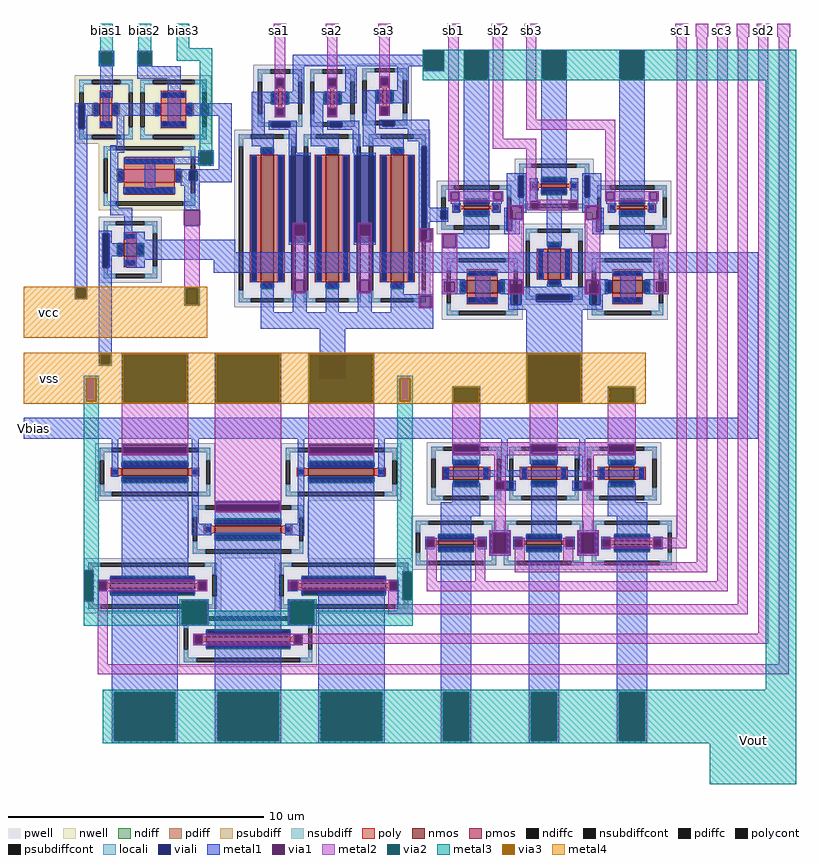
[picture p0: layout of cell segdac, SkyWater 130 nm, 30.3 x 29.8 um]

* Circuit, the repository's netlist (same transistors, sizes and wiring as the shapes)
** sch_path: /home/anton/projects/tt08-vga-fun/xschem/segdac.sch
.subckt segdac sa1 vcc sa2 vss sa3 Vout sb1 sb2 Vbias sb3 sc1 sc2 sc3 sd1 sd2 sd3 bias1 bias2 bias3
*.PININFO vcc:B vss:B Vout:O Vbias:O sa1:I sa2:I sa3:I sb1:I sb2:I sb3:I sc1:I sc2:I sc3:I sd1:I sd2:I sd3:I bias1:I bias2:I
*+ bias3:I
XMmirror Vbias Vbias vss vss sky130_fd_pr__nfet_01v8 L=0.5 W=0.5 nf=1 m=1
XMia1 net1 Vbias vss vss sky130_fd_pr__nfet_01v8 L=5 W=0.5 nf=1 m=1
XMia2 net2 Vbias vss vss sky130_fd_pr__nfet_01v8 L=5 W=0.5 nf=1 m=1
XMia3 net3 Vbias vss vss sky130_fd_pr__nfet_01v8 L=5 W=0.5 nf=1 m=1
XMsa1 Vout sa1 net1 vss sky130_fd_pr__nfet_01v8 L=0.15 W=0.5 nf=1 m=1
XMsa2 Vout sa2 net2 vss sky130_fd_pr__nfet_01v8 L=0.15 W=0.5 nf=1 m=1
XMsa3 Vout sa3 net3 vss sky130_fd_pr__nfet_01v8 L=0.15 W=0.5 nf=1 m=1
XMib1 net4 Vbias vss vss sky130_fd_pr__nfet_01v8 L=1.2 W=0.5 nf=1 m=1
XMib2 net5 Vbias vss vss sky130_fd_pr__nfet_01v8 L=1.2 W=0.5 nf=1 m=1
XMib3 net6 Vbias vss vss sky130_fd_pr__nfet_01v8 L=1.2 W=0.5 nf=1 m=1
XMsb1 Vout sb1 net4 vss sky130_fd_pr__nfet_01v8 L=0.15 W=1 nf=1 m=1
XMsb2 Vout sb2 net5 vss sky130_fd_pr__nfet_01v8 L=0.15 W=1 nf=1 m=1
XMsb3 Vout sb3 net6 vss sky130_fd_pr__nfet_01v8 L=0.15 W=1 nf=1 m=1
XMic1 net7 Vbias vss vss sky130_fd_pr__nfet_01v8 L=0.5 W=1 nf=1 m=1
XMic2 net8 Vbias vss vss sky130_fd_pr__nfet_01v8 L=0.5 W=1 nf=1 m=1
XMic3 net9 Vbias vss vss sky130_fd_pr__nfet_01v8 L=0.5 W=1 nf=1 m=1
XMsc1 Vout sc1 net7 vss sky130_fd_pr__nfet_01v8 L=0.15 W=1.4 nf=1 m=1
XMsc2 Vout sc2 net8 vss sky130_fd_pr__nfet_01v8 L=0.15 W=1.4 nf=1 m=1
XMsc3 Vout sc3 net9 vss sky130_fd_pr__nfet_01v8 L=0.15 W=1.4 nf=1 m=1
XMid1 net10 Vbias vss vss sky130_fd_pr__nfet_01v8 L=0.3 W=2.6 nf=1 m=1
XMid2 net11 Vbias vss vss sky130_fd_pr__nfet_01v8 L=0.3 W=2.6 nf=1 m=1
XMid3 net12 Vbias vss vss sky130_fd_pr__nfet_01v8 L=0.3 W=2.6 nf=1 m=1
XMsd1 Vout sd1 net10 vss sky130_fd_pr__nfet_01v8 L=0.2 W=3.3 nf=1 m=1
XMsd2 Vout sd2 net11 vss sky130_fd_pr__nfet_01v8 L=0.2 W=3.3 nf=1 m=1
XMsd3 Vout sd3 net12 vss sky130_fd_pr__nfet_01v8 L=0.2 W=3.3 nf=1 m=1
XM1 Vbias bias1 vcc vcc sky130_fd_pr__pfet_01v8 L=0.5 W=0.5 nf=1 m=1
XM2 Vbias bias2 vcc vcc sky130_fd_pr__pfet_01v8 L=1 W=0.5 nf=1 m=1
XM3 Vbias bias3 vcc vcc sky130_fd_pr__pfet_01v8 L=2 W=0.5 nf=1 m=1
.ends
.end

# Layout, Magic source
magic
tech sky130A
magscale 1 2
<< viali >>
rect -1470 4780 -1420 4970
rect -510 4890 -450 4970
rect 40 4790 190 4830
rect 500 4790 600 4830
rect 910 4800 1010 4840
rect -600 4370 -540 4450
rect -1280 3690 -1230 3960
rect 190 3890 340 4570
rect 700 3890 850 4570
rect 1220 3920 1260 4640
rect 1980 4240 2020 4410
rect 2500 4240 2540 4410
rect 1370 4070 1420 4140
rect 1890 3980 1930 4140
rect 2590 3970 2630 4140
rect 1920 3400 2000 3560
rect 2120 3420 2400 3480
rect 2540 3400 2620 3560
rect -1110 2240 -630 2280
rect 350 2240 830 2280
rect 1480 2250 1660 2290
rect 2090 2250 2270 2290
rect 2700 2250 2880 2290
rect 1810 1950 1940 2010
rect 2420 1950 2550 2010
rect -380 1790 100 1830
rect 1770 1450 1900 1610
rect 2460 1450 2590 1610
rect -1400 1100 -1360 1290
rect 1080 1110 1120 1280
rect -650 910 -480 1060
rect 200 910 370 1060
<< metal1 >>
rect 1230 5390 1400 5400
rect -1310 5380 -1190 5390
rect -1310 5280 -1300 5380
rect -1200 5280 -1190 5380
rect -1310 5270 -1190 5280
rect -1010 5380 -890 5390
rect -1010 5280 -1000 5380
rect -900 5280 -890 5380
rect 1230 5360 1240 5390
rect -1010 5270 -890 5280
rect 210 5270 1240 5360
rect -1300 5020 -1200 5270
rect -1010 5170 -670 5270
rect -1500 4970 -1310 4980
rect -1500 4780 -1470 4970
rect -1420 4880 -1310 4970
rect -1420 4780 -1400 4880
rect -1280 4800 -1230 5020
rect -1200 4880 -830 4980
rect -1500 3530 -1400 4780
rect -1170 4650 -1110 4880
rect -770 4800 -670 5170
rect 70 5170 150 5180
rect 70 5110 80 5170
rect 140 5110 150 5170
rect 210 5070 300 5270
rect 480 5170 560 5180
rect 480 5110 490 5170
rect 550 5110 560 5170
rect 492 5108 504 5110
rect 538 5108 550 5110
rect 492 5102 550 5108
rect 620 5070 710 5270
rect 890 5180 970 5190
rect 890 5120 900 5180
rect 960 5120 970 5180
rect 902 5118 914 5120
rect 948 5118 960 5120
rect 902 5112 960 5118
rect 1030 5080 1120 5270
rect 1230 5240 1240 5270
rect 1390 5240 1400 5390
rect 1230 5230 1400 5240
rect 1550 5390 1750 5400
rect -110 4980 90 5070
rect 140 4980 300 5070
rect -620 4970 -270 4980
rect -620 4890 -510 4970
rect -450 4890 -270 4970
rect -620 4880 -270 4890
rect -1220 4590 -1110 4650
rect -530 4600 -410 4610
rect -1220 4460 -1160 4590
rect -530 4560 -520 4600
rect -1100 4500 -520 4560
rect -420 4500 -410 4600
rect -1220 4360 -1120 4460
rect -1220 4160 -1160 4360
rect -950 4320 -870 4500
rect -530 4490 -410 4500
rect -370 4460 -270 4880
rect -110 4740 -10 4980
rect 350 4970 500 5070
rect 542 5058 710 5070
rect 542 4982 548 5058
rect 550 4982 710 5058
rect 542 4980 710 4982
rect 760 4980 910 5080
rect 952 5068 1120 5080
rect 952 4992 958 5068
rect 960 4992 1120 5068
rect 952 4980 1120 4992
rect 1550 5170 1560 5390
rect 1740 5170 1750 5390
rect 542 4970 560 4980
rect 70 4880 80 4940
rect 140 4880 150 4940
rect 70 4870 150 4880
rect 20 4830 240 4840
rect 20 4790 40 4830
rect 190 4790 240 4830
rect 20 4770 240 4790
rect -110 4640 60 4740
rect -40 4580 60 4640
rect 180 4590 240 4770
rect 350 4740 450 4970
rect 480 4880 490 4940
rect 550 4880 560 4940
rect 480 4870 560 4880
rect 480 4830 730 4840
rect 480 4790 500 4830
rect 600 4790 730 4830
rect 480 4770 730 4790
rect 350 4640 570 4740
rect 470 4590 570 4640
rect 680 4590 730 4770
rect 760 4740 860 4980
rect 890 4890 900 4950
rect 960 4890 970 4950
rect 890 4880 970 4890
rect 890 4840 1280 4850
rect 890 4800 910 4840
rect 1010 4800 1280 4840
rect 890 4780 1280 4800
rect 760 4640 1080 4740
rect 1110 4680 1280 4780
rect -700 4450 -270 4460
rect -700 4370 -600 4450
rect -540 4370 -270 4450
rect -700 4360 -270 4370
rect 180 4570 350 4590
rect -670 4330 -520 4360
rect -1120 4270 -710 4320
rect -1220 4100 -1050 4160
rect -1500 3450 -1490 3530
rect -1410 3450 -1400 3530
rect -1500 3440 -1400 3450
rect -1310 3960 -1210 3980
rect -1310 3690 -1280 3960
rect -1230 3880 -1210 3960
rect -1110 3970 -1050 4100
rect -640 4140 -520 4330
rect -640 4014 -520 4020
rect -1110 3910 -950 3970
rect -1230 3780 -1120 3880
rect -1090 3810 -240 3910
rect 180 3890 190 4570
rect 340 3890 350 4570
rect 180 3870 350 3890
rect 690 4570 860 4590
rect 980 4580 1080 4640
rect 1200 4640 1280 4680
rect 690 3890 700 4570
rect 850 3890 860 4570
rect 1200 3990 1220 4640
rect 1260 4160 1280 4640
rect 1440 4280 1520 4290
rect 1440 4220 1450 4280
rect 1510 4220 1520 4280
rect 1440 4210 1520 4220
rect 1450 4190 1520 4210
rect 1550 4200 1750 5170
rect 2160 5390 2360 5400
rect 2160 5170 2170 5390
rect 2350 5170 2360 5390
rect 1890 4410 2040 4430
rect 1780 4280 1860 4290
rect 1780 4220 1790 4280
rect 1850 4220 1860 4280
rect 1780 4210 1860 4220
rect 1890 4240 1980 4410
rect 2020 4240 2040 4410
rect 1260 4140 1430 4160
rect 1260 4070 1370 4140
rect 1420 4070 1430 4140
rect 1460 4120 1520 4190
rect 1780 4190 1850 4210
rect 1260 4050 1430 4070
rect 1260 4000 1280 4050
rect 1260 3990 1310 4000
rect 1200 3900 1210 3990
rect 1300 3900 1310 3990
rect 1550 3960 1750 4130
rect 1780 4120 1840 4190
rect 1890 4170 2040 4240
rect 1890 4160 1910 4170
rect 1870 4140 1910 4160
rect 1200 3890 1310 3900
rect 1380 3950 1750 3960
rect 1870 3980 1890 4140
rect 2010 4120 2040 4170
rect 2070 4220 2130 4390
rect 2160 4370 2360 5170
rect 2770 5390 2970 5400
rect 2770 5170 2780 5390
rect 2960 5170 2970 5390
rect 2480 4410 2630 4430
rect 2070 4210 2150 4220
rect 2070 4150 2080 4210
rect 2140 4150 2150 4210
rect 2070 4140 2150 4150
rect 2010 4070 2020 4120
rect 1930 4060 2020 4070
rect 1930 3980 1990 4060
rect 1870 3950 1990 3980
rect 690 3870 860 3890
rect 1380 3850 1390 3950
rect 1490 3850 1750 3950
rect 2200 3860 2320 4290
rect 2390 4220 2450 4390
rect 2370 4210 2450 4220
rect 2370 4150 2380 4210
rect 2440 4150 2450 4210
rect 2370 4140 2450 4150
rect 2480 4240 2500 4410
rect 2540 4240 2630 4410
rect 2480 4170 2630 4240
rect 2660 4280 2740 4290
rect 2660 4220 2670 4280
rect 2730 4220 2740 4280
rect 2660 4210 2740 4220
rect 2670 4190 2740 4210
rect 2770 4200 2970 5170
rect 3000 4280 3080 4290
rect 3000 4220 3010 4280
rect 3070 4220 3080 4280
rect 3000 4210 3080 4220
rect 2480 4120 2510 4170
rect 2610 4160 2630 4170
rect 2610 4140 2650 4160
rect 2500 4070 2510 4120
rect 2500 4060 2590 4070
rect 2560 3970 2590 4060
rect 2630 3970 2650 4140
rect 2680 4120 2740 4190
rect 3000 4190 3070 4210
rect 2560 3950 2650 3970
rect 2770 3960 2970 4130
rect 3000 4120 3060 4190
rect 2770 3950 3140 3960
rect 1380 3840 1750 3850
rect 2770 3850 3030 3950
rect 3130 3850 3140 3950
rect 2770 3840 3140 3850
rect -1230 3690 -1210 3780
rect -1090 3750 3860 3810
rect -1110 3700 -950 3750
rect -1090 3690 -950 3700
rect -1310 3010 -1210 3690
rect -410 3650 3860 3750
rect 210 3590 320 3600
rect -40 3340 60 3570
rect 210 3500 220 3590
rect 310 3500 320 3590
rect 720 3590 830 3600
rect 210 3340 320 3500
rect 470 3340 570 3570
rect 720 3500 730 3590
rect 820 3500 830 3590
rect 1380 3580 1560 3600
rect 720 3340 830 3500
rect 980 3480 1080 3570
rect 1380 3500 1400 3580
rect 1480 3500 1560 3580
rect 1380 3480 1560 3500
rect 980 3470 1310 3480
rect 980 3380 1210 3470
rect 1300 3380 1310 3470
rect 1640 3420 1760 3650
rect 1840 3590 2020 3600
rect 1840 3490 1910 3590
rect 2010 3540 2020 3590
rect 2500 3590 2680 3600
rect 2200 3540 2320 3560
rect 2500 3540 2510 3590
rect 2610 3560 2680 3590
rect 2010 3490 2510 3540
rect 1840 3480 1920 3490
rect 980 3340 1310 3380
rect 1900 3400 1920 3480
rect 2000 3480 2540 3490
rect 2000 3420 2120 3480
rect 2400 3420 2540 3480
rect 2000 3400 2540 3420
rect 2620 3480 2680 3560
rect 2620 3400 2640 3480
rect 2780 3420 2900 3650
rect 2980 3580 3160 3600
rect 2980 3500 3060 3580
rect 3140 3500 3160 3580
rect 2980 3480 3160 3500
rect 1900 3360 2640 3400
rect -40 3210 1310 3340
rect -1310 2930 -1300 3010
rect -1220 2930 -1210 3010
rect -1310 2920 -1210 2930
rect 420 3010 620 3210
rect 420 2830 430 3010
rect 610 2830 620 3010
rect 420 2820 620 2830
rect 2040 3010 2480 3360
rect 2040 2630 2050 3010
rect 2470 2630 2480 3010
rect 2040 2620 2480 2630
rect 3700 2511 3860 3650
rect -1901 2349 3861 2511
rect -1210 2050 -1160 2349
rect -1130 2300 -610 2310
rect -1130 2230 -1120 2300
rect -620 2230 -610 2300
rect -1130 2140 -610 2230
rect -1430 1310 -1350 1320
rect -1430 1080 -1420 1310
rect -1360 1080 -1350 1310
rect -1130 1250 -610 2030
rect -581 1680 -529 2349
rect -400 1850 120 1860
rect -400 1780 -390 1850
rect 110 1780 120 1850
rect -400 1690 120 1780
rect 250 1680 300 2349
rect 330 2300 850 2310
rect 330 2230 340 2300
rect 840 2230 850 2300
rect 330 2140 850 2230
rect 880 2050 930 2349
rect 1460 2300 1680 2310
rect 1460 2230 1470 2300
rect 1670 2230 1680 2300
rect 1460 2150 1680 2230
rect 1845 2100 1895 2349
rect 2070 2300 2290 2310
rect 2070 2230 2080 2300
rect 2280 2230 2290 2300
rect 2070 2150 2290 2230
rect 2455 2100 2505 2349
rect 2680 2300 2900 2310
rect 2680 2230 2690 2300
rect 2890 2230 2900 2300
rect 2680 2150 2900 2230
rect 1390 2050 2960 2100
rect -581 1594 -430 1680
rect -580 1590 -430 1594
rect -1320 1230 -1250 1240
rect -1320 1160 -1310 1230
rect -1320 1150 -1250 1160
rect -530 1230 -460 1240
rect -470 1160 -460 1230
rect -530 1150 -460 1160
rect -1430 1070 -1350 1080
rect -1210 360 -690 1140
rect -660 1080 -450 1090
rect -460 890 -450 1080
rect -660 880 -450 890
rect -400 830 120 1610
rect 150 1590 300 1680
rect 250 1585 300 1590
rect 330 1250 850 2030
rect 1790 2010 1960 2020
rect 1460 1850 1680 2000
rect 1790 1950 1800 2010
rect 1940 1950 1960 2010
rect 2400 2010 2570 2020
rect 1790 1940 1960 1950
rect 1370 1740 1680 1850
rect 1250 1560 1320 1580
rect 1370 1570 1610 1740
rect 1760 1610 1910 1630
rect 1250 1500 1260 1560
rect 1250 1480 1320 1500
rect 1660 1560 1730 1580
rect 1720 1500 1730 1560
rect 1070 1300 1150 1310
rect 170 1230 250 1240
rect 170 1160 190 1230
rect 170 1150 250 1160
rect 970 1230 1040 1240
rect 1030 1160 1040 1230
rect 970 1150 1040 1160
rect 170 1080 380 1090
rect 170 890 180 1080
rect 170 880 380 890
rect -570 810 -500 820
rect -570 740 -560 810
rect -570 730 -500 740
rect 220 810 290 820
rect 280 740 290 810
rect 220 730 290 740
rect -1210 -20 -1190 360
rect -710 -20 -690 360
rect -1210 -40 -690 -20
rect -400 360 120 720
rect -400 -20 -380 360
rect 100 -20 120 360
rect -400 -40 120 -20
rect 410 360 930 1140
rect 1070 1090 1080 1300
rect 1140 1090 1150 1300
rect 1070 1080 1150 1090
rect 410 -20 430 360
rect 910 -20 930 360
rect 410 -40 930 -20
rect 1370 360 1610 1490
rect 1660 1480 1730 1500
rect 1760 1450 1770 1610
rect 1900 1450 1910 1610
rect 1940 1560 2010 1580
rect 2080 1570 2280 2000
rect 2400 1950 2420 2010
rect 2560 1950 2570 2010
rect 2400 1940 2570 1950
rect 2680 1850 2900 2000
rect 2680 1740 2990 1850
rect 2450 1610 2600 1630
rect 1940 1500 1950 1560
rect 1940 1480 2010 1500
rect 2350 1560 2420 1580
rect 2410 1500 2420 1560
rect 2350 1480 2420 1500
rect 1760 1430 1910 1450
rect 1370 -20 1390 360
rect 1590 -20 1610 360
rect 1370 -40 1610 -20
rect 2060 360 2300 1480
rect 2450 1450 2460 1610
rect 2590 1450 2600 1610
rect 2630 1560 2700 1580
rect 2750 1570 2990 1740
rect 2630 1500 2640 1560
rect 2630 1480 2700 1500
rect 3040 1560 3110 1580
rect 3100 1500 3110 1560
rect 3040 1480 3110 1500
rect 2450 1430 2600 1450
rect 2060 -20 2080 360
rect 2280 -20 2300 360
rect 2060 -40 2300 -20
rect 2750 360 2990 1480
rect 2750 -20 2770 360
rect 2970 -20 2990 360
rect 2750 -40 2990 -20
<< via1 >>
rect -1300 5280 -1200 5380
rect -1000 5280 -900 5380
rect 80 5110 140 5170
rect 490 5110 550 5170
rect 900 5120 960 5180
rect 1240 5240 1390 5390
rect -520 4500 -420 4600
rect 1560 5170 1740 5390
rect 80 4880 140 4940
rect 490 4880 550 4940
rect 900 4890 960 4950
rect -1490 3450 -1410 3530
rect -640 4020 -520 4140
rect 220 3940 310 4030
rect 730 3940 820 4030
rect 1450 4220 1510 4280
rect 2170 5170 2350 5390
rect 1790 4220 1850 4280
rect 1210 3920 1220 3990
rect 1220 3920 1260 3990
rect 1260 3920 1300 3990
rect 1210 3900 1300 3920
rect 1910 4140 2010 4170
rect 1910 4070 1930 4140
rect 1930 4070 2010 4140
rect 2780 5170 2960 5390
rect 2080 4150 2140 4210
rect 1390 3850 1490 3950
rect 2380 4150 2440 4210
rect 2670 4220 2730 4280
rect 3010 4220 3070 4280
rect 2510 4140 2610 4170
rect 2510 4070 2590 4140
rect 2590 4070 2610 4140
rect 3030 3850 3130 3950
rect 220 3500 310 3590
rect 730 3500 820 3590
rect 1400 3500 1480 3580
rect 1210 3380 1300 3470
rect 1910 3560 2010 3590
rect 1910 3490 1920 3560
rect 1920 3490 2000 3560
rect 2000 3490 2010 3560
rect 2510 3560 2610 3590
rect 2510 3490 2540 3560
rect 2540 3490 2610 3560
rect 3060 3500 3140 3580
rect -1300 2930 -1220 3010
rect 430 2830 610 3010
rect 2050 2630 2470 3010
rect -1120 2280 -620 2300
rect -1120 2240 -1110 2280
rect -1110 2240 -630 2280
rect -630 2240 -620 2280
rect -1120 2230 -620 2240
rect -1420 1290 -1360 1310
rect -1420 1100 -1400 1290
rect -1400 1100 -1360 1290
rect -1420 1080 -1360 1100
rect -390 1830 110 1850
rect -390 1790 -380 1830
rect -380 1790 100 1830
rect 100 1790 110 1830
rect -390 1780 110 1790
rect 340 2280 840 2300
rect 340 2240 350 2280
rect 350 2240 830 2280
rect 830 2240 840 2280
rect 340 2230 840 2240
rect 1470 2290 1670 2300
rect 1470 2250 1480 2290
rect 1480 2250 1660 2290
rect 1660 2250 1670 2290
rect 1470 2230 1670 2250
rect 2080 2290 2280 2300
rect 2080 2250 2090 2290
rect 2090 2250 2270 2290
rect 2270 2250 2280 2290
rect 2080 2230 2280 2250
rect 2690 2290 2890 2300
rect 2690 2250 2700 2290
rect 2700 2250 2880 2290
rect 2880 2250 2890 2290
rect 2690 2230 2890 2250
rect -1310 1160 -1250 1230
rect -530 1160 -470 1230
rect -660 1060 -460 1080
rect -660 910 -650 1060
rect -650 910 -480 1060
rect -480 910 -460 1060
rect -660 890 -460 910
rect 1800 1950 1810 2010
rect 1810 1950 1870 2010
rect 1260 1500 1320 1560
rect 1660 1500 1720 1560
rect 190 1160 250 1230
rect 970 1160 1030 1230
rect 180 1060 380 1080
rect 180 910 200 1060
rect 200 910 370 1060
rect 370 910 380 1060
rect 180 890 380 910
rect -560 740 -500 810
rect 220 740 280 810
rect -1190 -20 -710 360
rect -380 -20 100 360
rect 1080 1280 1140 1300
rect 1080 1110 1120 1280
rect 1120 1110 1140 1280
rect 1080 1090 1140 1110
rect 430 -20 910 360
rect 1780 1450 1890 1610
rect 2490 1950 2550 2010
rect 2550 1950 2560 2010
rect 1950 1500 2010 1560
rect 2350 1500 2410 1560
rect 1390 -20 1590 360
rect 2470 1450 2580 1610
rect 2640 1500 2700 1560
rect 3040 1500 3100 1560
rect 2080 -20 2280 360
rect 2770 -20 2970 360
<< metal2 >>
rect 60 5500 160 5600
rect 470 5500 570 5600
rect 880 5500 980 5600
rect 1420 5500 1520 5600
rect 1770 5500 1870 5600
rect 2030 5500 2130 5600
rect 3210 5500 3310 5600
rect 3370 5500 3470 5600
rect 3530 5500 3630 5600
rect 3690 5500 3790 5600
rect 3850 5500 3950 5600
rect 4010 5500 4110 5600
rect -1310 5380 -1190 5390
rect -1310 5280 -1300 5380
rect -1200 5280 -1190 5380
rect -1310 5270 -1190 5280
rect -1010 5380 -890 5390
rect -1010 5280 -1000 5380
rect -900 5280 -890 5380
rect -1010 5270 -890 5280
rect 70 5170 150 5500
rect 70 5110 80 5170
rect 140 5110 150 5170
rect 70 4940 150 5110
rect 70 4880 80 4940
rect 140 4880 150 4940
rect 70 4870 150 4880
rect 480 5170 560 5500
rect 480 5110 490 5170
rect 550 5110 560 5170
rect 480 4940 560 5110
rect 480 4880 490 4940
rect 550 4880 560 4940
rect 890 5180 970 5500
rect 1230 5390 1400 5400
rect 1230 5240 1240 5390
rect 1390 5240 1400 5390
rect 1230 5230 1400 5240
rect 890 5120 900 5180
rect 960 5120 970 5180
rect 890 4950 970 5120
rect 890 4890 900 4950
rect 960 4890 970 4950
rect 890 4880 970 4890
rect 480 4870 560 4880
rect -530 4600 -410 4610
rect -530 4500 -520 4600
rect -420 4500 -410 4600
rect -530 4490 -410 4500
rect 1430 4290 1510 5500
rect 1550 5390 1750 5400
rect 1550 5170 1560 5390
rect 1740 5170 1750 5390
rect 1550 5160 1750 5170
rect 1780 4700 1860 5500
rect 2040 4850 2120 5500
rect 2160 5390 2360 5400
rect 2160 5170 2170 5390
rect 2350 5170 2360 5390
rect 2160 5160 2360 5170
rect 2770 5390 2970 5400
rect 2770 5170 2780 5390
rect 2960 5170 2970 5390
rect 2770 5160 2970 5170
rect 2040 4770 2740 4850
rect 1780 4620 2120 4700
rect 1430 4280 1860 4290
rect 1430 4220 1450 4280
rect 1510 4220 1790 4280
rect 1850 4220 1860 4280
rect 1430 4210 1860 4220
rect 2040 4220 2120 4620
rect 2660 4290 2740 4770
rect 2660 4280 3080 4290
rect 2660 4220 2670 4280
rect 2730 4220 3010 4280
rect 3070 4220 3080 4280
rect 2040 4210 2450 4220
rect 2660 4210 3080 4220
rect 1900 4170 2020 4180
rect -646 4020 -640 4140
rect -520 4020 -514 4140
rect 1900 4070 1910 4170
rect 2010 4070 2020 4170
rect 2050 4150 2080 4210
rect 2140 4150 2380 4210
rect 2440 4150 2450 4210
rect 2050 4140 2450 4150
rect 2500 4170 2620 4180
rect 210 4030 320 4040
rect -1500 3530 -1400 3540
rect -1500 3450 -1490 3530
rect -1410 3450 -1400 3530
rect -1500 3440 -1400 3450
rect -640 3530 -520 4020
rect -640 3400 -630 3530
rect -530 3400 -520 3530
rect 210 3940 220 4030
rect 310 3940 320 4030
rect 210 3590 320 3940
rect 210 3500 220 3590
rect 310 3500 320 3590
rect 210 3490 320 3500
rect 720 4030 830 4040
rect 720 3940 730 4030
rect 820 3940 830 4030
rect 720 3590 830 3940
rect 720 3500 730 3590
rect 820 3500 830 3590
rect 720 3490 830 3500
rect 1200 3990 1310 4000
rect 1200 3900 1210 3990
rect 1300 3900 1310 3990
rect -640 3390 -520 3400
rect 1200 3470 1310 3900
rect 1380 3950 1500 3960
rect 1380 3850 1390 3950
rect 1490 3850 1500 3950
rect 1380 3580 1500 3850
rect 1380 3500 1400 3580
rect 1480 3500 1500 3580
rect 1380 3480 1500 3500
rect 1900 3590 2020 4070
rect 1900 3490 1910 3590
rect 2010 3490 2020 3590
rect 1900 3480 2020 3490
rect 2500 4070 2510 4170
rect 2610 4070 2620 4170
rect 2500 3590 2620 4070
rect 3020 3950 3160 3960
rect 3020 3850 3030 3950
rect 3130 3850 3160 3950
rect 3020 3840 3160 3850
rect 2500 3490 2510 3590
rect 2610 3490 2620 3590
rect 2500 3480 2620 3490
rect 3040 3580 3160 3840
rect 3040 3500 3060 3580
rect 3140 3500 3160 3580
rect 3040 3480 3160 3500
rect 1200 3380 1210 3470
rect 1300 3380 1310 3470
rect 1200 3370 1310 3380
rect -1310 3010 -1210 3020
rect -1310 2930 -1300 3010
rect -1220 2930 -1210 3010
rect -1310 2920 -1210 2930
rect -1130 3010 -610 3020
rect -1130 2630 -1120 3010
rect -620 2630 -610 3010
rect -1130 2300 -610 2630
rect -1130 2230 -1120 2300
rect -620 2230 -610 2300
rect -1130 2220 -610 2230
rect -400 3010 120 3020
rect -400 2630 -390 3010
rect 110 2630 120 3010
rect -400 1850 120 2630
rect 330 3010 850 3020
rect 330 2630 340 3010
rect 840 2630 850 3010
rect 2040 3010 2480 3020
rect 330 2300 850 2630
rect 330 2230 340 2300
rect 840 2230 850 2300
rect 330 2220 850 2230
rect 1460 2750 1680 2760
rect 1460 2630 1470 2750
rect 1670 2630 1680 2750
rect 1460 2320 1680 2630
rect 2040 2630 2050 3010
rect 2470 2630 2480 3010
rect 2040 2620 2480 2630
rect 2680 2750 2900 2760
rect 2680 2630 2690 2750
rect 2890 2630 2900 2750
rect 2070 2320 2290 2620
rect 2680 2320 2900 2630
rect 1460 2300 2900 2320
rect 1460 2230 1470 2300
rect 1670 2230 2080 2300
rect 2280 2230 2690 2300
rect 2890 2230 2900 2300
rect 1460 2220 2900 2230
rect -400 1780 -390 1850
rect 110 1780 120 1850
rect -400 1770 120 1780
rect 1790 2010 1880 2220
rect 1790 1950 1800 2010
rect 1870 1950 1880 2010
rect 1790 1630 1880 1950
rect 2480 2010 2570 2220
rect 2480 1950 2490 2010
rect 2560 1950 2570 2010
rect 2480 1630 2570 1950
rect 1750 1610 1920 1630
rect 1260 1560 1340 1570
rect 1320 1500 1340 1560
rect -1430 1310 -1350 1320
rect -1430 1080 -1420 1310
rect -1360 1080 -1350 1310
rect 1070 1300 1150 1310
rect -1430 1070 -1350 1080
rect -1320 1230 -460 1240
rect -1320 1160 -1310 1230
rect -1250 1160 -530 1230
rect -470 1160 -460 1230
rect 180 1230 1040 1240
rect 180 1160 190 1230
rect 250 1160 970 1230
rect 1030 1160 1040 1230
rect -1320 1150 -460 1160
rect -1320 580 -1240 1150
rect -680 1080 -450 1090
rect -680 890 -660 1080
rect -460 890 -450 1080
rect -680 880 -450 890
rect 170 1080 400 1090
rect 170 890 180 1080
rect 380 890 400 1080
rect 960 1050 1040 1160
rect 1070 1090 1080 1300
rect 1140 1090 1150 1300
rect 1260 1230 1340 1500
rect 1640 1560 1720 1570
rect 1640 1500 1660 1560
rect 1640 1230 1720 1500
rect 1750 1450 1780 1610
rect 1890 1450 1920 1610
rect 2440 1610 2610 1630
rect 1750 1430 1920 1450
rect 1950 1560 2030 1570
rect 2010 1500 2030 1560
rect 1950 1380 2030 1500
rect 2330 1560 2410 1570
rect 2330 1500 2350 1560
rect 2330 1380 2410 1500
rect 2440 1450 2470 1610
rect 2580 1450 2610 1610
rect 3220 1570 3300 5500
rect 2640 1560 3300 1570
rect 2700 1500 3040 1560
rect 3100 1500 3300 1560
rect 2640 1490 3300 1500
rect 2440 1430 2610 1450
rect 3380 1380 3460 5500
rect 1950 1300 3460 1380
rect 3540 1230 3620 5500
rect 1260 1150 3620 1230
rect 1070 1080 1150 1090
rect 3700 1050 3780 5500
rect 960 970 3780 1050
rect 170 880 400 890
rect 3860 820 3940 5500
rect -570 810 3940 820
rect -570 740 -560 810
rect -500 740 220 810
rect 280 740 3940 810
rect -570 730 290 740
rect 4020 580 4100 5500
rect -1320 500 4100 580
rect -1210 360 -690 380
rect -1210 -20 -1190 360
rect -710 -20 -690 360
rect -1210 -40 -690 -20
rect -400 360 120 380
rect -400 -20 -380 360
rect 100 -20 120 360
rect -400 -40 120 -20
rect 410 360 930 380
rect 410 -20 430 360
rect 910 -20 930 360
rect 410 -40 930 -20
rect 1370 360 1610 380
rect 1370 -20 1390 360
rect 1590 -20 1610 360
rect 1370 -40 1610 -20
rect 2060 360 2300 380
rect 2060 -20 2080 360
rect 2280 -20 2300 360
rect 2060 -40 2300 -20
rect 2750 360 2990 380
rect 2750 -20 2770 360
rect 2970 -20 2990 360
rect 2750 -40 2990 -20
<< via2 >>
rect -1295 5285 -1205 5375
rect -995 5285 -905 5375
rect 1240 5240 1390 5390
rect -515 4505 -425 4595
rect 1560 5170 1740 5390
rect 2170 5170 2350 5390
rect 2780 5170 2960 5390
rect -1490 3450 -1410 3530
rect -630 3400 -530 3530
rect -1300 2930 -1220 3010
rect -1120 2630 -620 3010
rect -390 2630 110 3010
rect 340 2830 430 3010
rect 430 2830 610 3010
rect 610 2830 840 3010
rect 340 2630 840 2830
rect 1470 2630 1670 2750
rect 2050 2630 2470 3010
rect 2690 2630 2890 2750
rect -1420 1080 -1360 1310
rect -660 900 -470 1070
rect 190 900 380 1070
rect 1080 1090 1140 1300
rect -1190 -20 -710 360
rect -380 -20 100 360
rect 430 -20 910 360
rect 1390 -20 1590 360
rect 2080 -20 2280 360
rect 2770 -20 2970 360
<< metal3 >>
rect -1300 5390 -1200 5600
rect -1000 5390 -900 5600
rect -700 5410 -600 5600
rect -1310 5375 -1190 5390
rect -1310 5285 -1295 5375
rect -1205 5285 -1190 5375
rect -1310 5270 -1190 5285
rect -1010 5375 -890 5390
rect -1010 5285 -995 5375
rect -905 5285 -890 5375
rect -700 5310 -420 5410
rect -1010 5270 -890 5285
rect -520 4610 -420 5310
rect 1230 5390 4160 5400
rect 1230 5240 1240 5390
rect 1390 5240 1560 5390
rect 1230 5170 1560 5240
rect 1740 5170 2170 5390
rect 2350 5170 2780 5390
rect 2960 5170 4160 5390
rect 1230 5160 4160 5170
rect -530 4595 -410 4610
rect -530 4505 -515 4595
rect -425 4505 -410 4595
rect -530 4490 -410 4505
rect -1500 3530 -1400 3540
rect -1500 3450 -1490 3530
rect -1410 3450 -1400 3530
rect -1500 3440 -1400 3450
rect -640 3530 -520 3540
rect -640 3400 -630 3530
rect -530 3400 -520 3530
rect -640 3390 -520 3400
rect -1310 3010 -1210 3020
rect -1310 2930 -1300 3010
rect -1220 2930 -1210 3010
rect -1310 2920 -1210 2930
rect -1130 3010 -610 3020
rect -1430 2820 -1310 2840
rect -1430 2640 -1410 2820
rect -1330 2640 -1310 2820
rect -1430 1310 -1310 2640
rect -1130 2630 -1120 3010
rect -620 2630 -610 3010
rect -1130 2620 -610 2630
rect -400 3010 120 3020
rect -400 2630 -390 3010
rect 110 2630 120 3010
rect -400 2620 120 2630
rect 330 3010 850 3020
rect 330 2630 340 3010
rect 840 2630 850 3010
rect 2040 3010 2480 3020
rect 330 2620 850 2630
rect 1030 2820 1150 2840
rect 1030 2640 1050 2820
rect 1130 2640 1150 2820
rect -1430 1080 -1420 1310
rect -1360 1080 -1310 1310
rect 1030 1300 1150 2640
rect 1460 2750 1680 2760
rect 1460 2630 1470 2750
rect 1670 2630 1680 2750
rect 1460 2620 1680 2630
rect 2040 2630 2050 3010
rect 2470 2630 2480 3010
rect 2040 2620 2480 2630
rect 2680 2750 2900 2760
rect 2680 2630 2690 2750
rect 2890 2630 2900 2750
rect 2680 2620 2900 2630
rect 1030 1090 1080 1300
rect 1140 1090 1150 1300
rect -1430 1000 -1310 1080
rect -680 1070 -450 1090
rect -680 1000 -660 1070
rect -1430 900 -660 1000
rect -470 1000 -450 1070
rect 170 1070 400 1090
rect 170 1000 190 1070
rect -470 900 190 1000
rect 380 1000 400 1070
rect 1030 1000 1150 1090
rect 380 900 1150 1000
rect -1430 880 1150 900
rect 3920 380 4160 5160
rect -1280 360 4160 380
rect -1280 -20 -1190 360
rect -710 -20 -380 360
rect 100 -20 430 360
rect 910 -20 1390 360
rect 1590 -20 2080 360
rect 2280 -20 2770 360
rect 2970 -20 4160 360
rect -1280 -40 4160 -20
rect 3480 -360 4160 -40
<< via3 >>
rect -1490 3450 -1410 3530
rect -630 3400 -530 3530
rect -1300 2930 -1220 3010
rect -1410 2640 -1330 2820
rect -1120 2630 -620 3010
rect -390 2630 110 3010
rect 340 2630 840 3010
rect 1050 2640 1130 2820
rect 1470 2630 1670 2750
rect 2050 2630 2470 3010
rect 2690 2630 2890 2750
<< metal4 >>
rect -1900 3530 -460 3540
rect -1900 3450 -1490 3530
rect -1410 3450 -630 3530
rect -1900 3400 -630 3450
rect -530 3400 -460 3530
rect -1900 3140 -460 3400
rect -1900 3010 2980 3020
rect -1900 2930 -1300 3010
rect -1220 2930 -1120 3010
rect -1900 2820 -1120 2930
rect -1900 2640 -1410 2820
rect -1330 2640 -1120 2820
rect -1900 2630 -1120 2640
rect -620 2630 -390 3010
rect 110 2630 340 3010
rect 840 2820 2050 3010
rect 840 2640 1050 2820
rect 1130 2750 2050 2820
rect 1130 2640 1470 2750
rect 840 2630 1470 2640
rect 1670 2630 2050 2750
rect 2470 2750 2980 3010
rect 2470 2630 2690 2750
rect 2890 2630 2980 2750
rect -1900 2620 2980 2630
use sky130_fd_pr__pfet_01v8_JE7DK3  XM1 segdac__devices
transform 1 0 -1254 0 1 4929
box -246 -269 246 269
use sky130_fd_pr__pfet_01v8_QBPJZQ  XM2 segdac__devices
transform 1 0 -724 0 1 4929
box -296 -269 296 269
use sky130_fd_pr__pfet_01v8_8JDY5S  XM3 segdac__devices
transform 1 0 -914 0 1 4409
box -396 -269 396 269
use sky130_fd_pr__nfet_01v8_DB7J7C  XMia1 segdac__devices
transform 0 1 10 -1 0 4076
box -696 -260 696 260
use sky130_fd_pr__nfet_01v8_DB7J7C  XMia2
transform 0 1 520 -1 0 4076
box -696 -260 696 260
use sky130_fd_pr__nfet_01v8_DB7J7C  XMia3
transform 0 1 1030 -1 0 4076
box -696 -260 696 260
use sky130_fd_pr__nfet_01v8_33M553  XMib1 segdac__devices
transform 1 0 1696 0 1 3540
box -316 -260 316 260
use sky130_fd_pr__nfet_01v8_33M553  XMib2
transform 0 1 2260 -1 0 3716
box -316 -260 316 260
use sky130_fd_pr__nfet_01v8_33M553  XMib3
transform 1 0 2836 0 1 3540
box -316 -260 316 260
use sky130_fd_pr__nfet_01v8_7DN82Q  XMic1 segdac__devices
transform 0 1 2790 -1 0 2076
box -246 -310 246 310
use sky130_fd_pr__nfet_01v8_7DN82Q  XMic2
transform 0 1 2180 -1 0 2076
box -246 -310 246 310
use sky130_fd_pr__nfet_01v8_7DN82Q  XMic3
transform 0 1 1570 -1 0 2076
box -246 -310 246 310
use sky130_fd_pr__nfet_01v8_3ZUKNL  XMid1 segdac__devices
transform 0 1 590 -1 0 2086
box -226 -470 226 470
use sky130_fd_pr__nfet_01v8_3ZUKNL  XMid2
transform 0 1 -140 -1 0 1636
box -226 -470 226 470
use sky130_fd_pr__nfet_01v8_3ZUKNL  XMid3
transform 0 1 -870 -1 0 2086
box -226 -470 226 470
use sky130_fd_pr__nfet_01v8_VRHU84  XMmirror segdac__devices
transform 1 0 -1064 0 1 3830
box -246 -260 246 260
use sky130_fd_pr__nfet_01v8_AJ3M4R  XMsa1 segdac__devices
transform 1 0 111 0 1 5020
box -211 -260 211 260
use sky130_fd_pr__nfet_01v8_AJ3M4R  XMsa2
transform 1 0 521 0 1 5020
box -211 -260 211 260
use sky130_fd_pr__nfet_01v8_AJ3M4R  XMsa3
transform 1 0 931 0 1 5030
box -211 -260 211 260
use sky130_fd_pr__nfet_01v8_V8CAV6_segdac  XMsb1 segdac__devices
transform 0 1 1650 -1 0 4161
box -211 -310 211 310
use sky130_fd_pr__nfet_01v8_V8CAV6_segdac  XMsb2
transform 0 1 2260 -1 0 4331
box -211 -310 211 310
use sky130_fd_pr__nfet_01v8_V8CAV6_segdac  XMsb3
transform 0 1 2870 -1 0 4161
box -211 -310 211 310
use sky130_fd_pr__nfet_01v8_V8CYR7  XMsc1 segdac__devices
transform 0 1 2870 -1 0 1531
box -211 -350 211 350
use sky130_fd_pr__nfet_01v8_V8CYR7  XMsc2
transform 0 1 2180 -1 0 1531
box -211 -350 211 350
use sky130_fd_pr__nfet_01v8_V8CYR7  XMsc3
transform 0 1 1490 -1 0 1531
box -211 -350 211 350
use sky130_fd_pr__nfet_01v8_2BSVCH  XMsd1 segdac__devices
transform 0 1 610 -1 0 1196
box -216 -540 216 540
use sky130_fd_pr__nfet_01v8_2BSVCH  XMsd2
transform 0 1 -140 -1 0 776
box -216 -540 216 540
use sky130_fd_pr__nfet_01v8_2BSVCH  XMsd3
transform 0 1 -890 -1 0 1196
box -216 -540 216 540
<< labels >>
flabel metal3 -1300 5500 -1200 5600 0 FreeSans 480 0 0 0 bias1
port 21 nsew
flabel metal3 -1000 5500 -900 5600 0 FreeSans 480 0 0 0 bias2
port 22 nsew
flabel metal3 -700 5500 -600 5600 0 FreeSans 480 0 0 0 bias3
port 24 nsew
flabel metal2 60 5500 160 5600 0 FreeSans 480 0 0 0 sa1
port 25 nsew
flabel metal2 470 5500 570 5600 0 FreeSans 480 0 0 0 sa2
port 26 nsew
flabel metal2 880 5500 980 5600 0 FreeSans 480 0 0 0 sa3
port 27 nsew
flabel metal2 1420 5500 1520 5600 0 FreeSans 480 0 0 0 sb1
port 30 nsew
flabel metal2 1770 5500 1870 5600 0 FreeSans 480 0 0 0 sb2
port 31 nsew
flabel metal2 2030 5500 2130 5600 0 FreeSans 480 0 0 0 sb3
port 32 nsew
flabel metal2 3210 5500 3310 5600 0 FreeSans 480 0 0 0 sc1
port 33 nsew
flabel metal2 3370 5500 3470 5600 0 FreeSans 480 0 0 0 sc2
port 34 nsew
flabel metal2 3530 5500 3630 5600 0 FreeSans 480 0 0 0 sc3
port 35 nsew
flabel metal2 3690 5500 3790 5600 0 FreeSans 480 0 0 0 sd1
port 36 nsew
flabel metal2 3850 5500 3950 5600 0 FreeSans 480 0 0 0 sd2
port 37 nsew
flabel metal2 4010 5500 4110 5600 0 FreeSans 480 0 0 0 sd3
port 38 nsew
flabel metal4 -1900 3140 -1500 3540 0 FreeSans 1600 0 0 0 vcc
port 19 nsew
flabel metal4 -1900 2620 -1500 3020 0 FreeSans 1600 0 0 0 vss
port 20 nsew
flabel metal1 -1901 2349 -1739 2511 0 FreeSans 480 0 0 0 Vbias
port 28 nsew
flabel metal3 3480 -360 4160 320 0 FreeSans 1600 0 0 0 Vout
port 29 nsew
<< end >>

# cell sky130_fd_pr__pfet_01v8_JE7DK3: kit device sky130_fd_pr__pfet_01v8, w 0.5 l 0.5 m 1 nf 1 diffcov 100 polycov 100 guard 1 glc 1 grc 1 gtc 1 gbc 1 tbcov 100 rlcov 100 topc 1 botc 1 poverlap 0 doverlap 1 lmin 0.15 wmin 0.42 class mosfet compatible {sky130_fd_pr__pfet_01v8 sky130_fd_pr__pfet_01v8_lvt sky130_fd_pr__pfet_01v8_hvt sky130_fd_pr__pfet_g5v0d10v5} full_metal 1 viasrc 100 viadrn 100 viagate 100 viagb 0 viagr 0 viagl 0 viagt 0

# cell sky130_fd_pr__pfet_01v8_QBPJZQ: kit device sky130_fd_pr__pfet_01v8, w 0.5 l 1.0 m 1 nf 1 diffcov 100 polycov 100 guard 1 glc 1 grc 1 gtc 1 gbc 1 tbcov 100 rlcov 100 topc 1 botc 1 poverlap 0 doverlap 1 lmin 0.15 wmin 0.42 class mosfet compatible {sky130_fd_pr__pfet_01v8 sky130_fd_pr__pfet_01v8_lvt sky130_fd_pr__pfet_01v8_hvt sky130_fd_pr__pfet_g5v0d10v5} full_metal 1 viasrc 100 viadrn 100 viagate 100 viagb 0 viagr 0 viagl 0 viagt 0

# cell sky130_fd_pr__pfet_01v8_8JDY5S: kit device sky130_fd_pr__pfet_01v8, w 0.5 l 2.0 m 1 nf 1 diffcov 100 polycov 100 guard 1 glc 1 grc 1 gtc 1 gbc 1 tbcov 100 rlcov 100 topc 1 botc 1 poverlap 0 doverlap 1 lmin 0.15 wmin 0.42 class mosfet compatible {sky130_fd_pr__pfet_01v8 sky130_fd_pr__pfet_01v8_lvt sky130_fd_pr__pfet_01v8_hvt sky130_fd_pr__pfet_g5v0d10v5} full_metal 1 viasrc 100 viadrn 100 viagate 100 viagb 0 viagr 0 viagl 0 viagt 0

# cell sky130_fd_pr__nfet_01v8_DB7J7C: kit device sky130_fd_pr__nfet_01v8, w 0.5 l 5.0 m 1 nf 1 diffcov 100 polycov 100 guard 1 glc 1 grc 1 gtc 1 gbc 1 tbcov 100 rlcov 100 topc 1 botc 1 poverlap 0 doverlap 1 lmin 0.15 wmin 0.42 class mosfet compatible {sky130_fd_pr__nfet_01v8 sky130_fd_pr__nfet_01v8_lvt sky130_fd_bs_flash__special_sonosfet_star sky130_fd_pr__nfet_g5v0d10v5 sky130_fd_pr__nfet_05v0_nvt sky130_fd_pr__nfet_03v3_nvt} full_metal 1 viasrc 100 viadrn 100 viagate 100 viagb 0 viagr 0 viagl 0 viagt 0

# cell sky130_fd_pr__nfet_01v8_33M553: kit device sky130_fd_pr__nfet_01v8, w 0.5 l 1.2 m 1 nf 1 diffcov 100 polycov 100 guard 1 glc 1 grc 1 gtc 1 gbc 1 tbcov 100 rlcov 100 topc 1 botc 1 poverlap 0 doverlap 1 lmin 0.15 wmin 0.42 class mosfet compatible {sky130_fd_pr__nfet_01v8 sky130_fd_pr__nfet_01v8_lvt sky130_fd_bs_flash__special_sonosfet_star sky130_fd_pr__nfet_g5v0d10v5 sky130_fd_pr__nfet_05v0_nvt sky130_fd_pr__nfet_03v3_nvt} full_metal 1 viasrc 100 viadrn 100 viagate 100 viagb 0 viagr 0 viagl 0 viagt 0

# cell sky130_fd_pr__nfet_01v8_7DN82Q: kit device sky130_fd_pr__nfet_01v8, w 1.0 l 0.5 m 1 nf 1 diffcov 100 polycov 100 guard 1 glc 1 grc 1 gtc 1 gbc 1 tbcov 100 rlcov 100 topc 1 botc 1 poverlap 0 doverlap 1 lmin 0.15 wmin 0.42 class mosfet compatible {sky130_fd_pr__nfet_01v8 sky130_fd_pr__nfet_01v8_lvt sky130_fd_bs_flash__special_sonosfet_star sky130_fd_pr__nfet_g5v0d10v5 sky130_fd_pr__nfet_05v0_nvt sky130_fd_pr__nfet_03v3_nvt} full_metal 1 viasrc 100 viadrn 100 viagate 100 viagb 0 viagr 0 viagl 0 viagt 0

# cell sky130_fd_pr__nfet_01v8_3ZUKNL: kit device sky130_fd_pr__nfet_01v8, w 2.6 l 0.3 m 1 nf 1 diffcov 100 polycov 100 guard 1 glc 1 grc 1 gtc 1 gbc 1 tbcov 100 rlcov 100 topc 1 botc 1 poverlap 0 doverlap 1 lmin 0.15 wmin 0.42 class mosfet compatible {sky130_fd_pr__nfet_01v8 sky130_fd_pr__nfet_01v8_lvt sky130_fd_bs_flash__special_sonosfet_star sky130_fd_pr__nfet_g5v0d10v5 sky130_fd_pr__nfet_05v0_nvt sky130_fd_pr__nfet_03v3_nvt} full_metal 1 viasrc 100 viadrn 100 viagate 100 viagb 0 viagr 0 viagl 0 viagt 0

# cell sky130_fd_pr__nfet_01v8_VRHU84: kit device sky130_fd_pr__nfet_01v8, w 0.5 l 0.5 m 1 nf 1 diffcov 100 polycov 100 guard 1 glc 1 grc 1 gtc 1 gbc 1 tbcov 100 rlcov 100 topc 1 botc 1 poverlap 0 doverlap 1 lmin 0.15 wmin 0.42 class mosfet compatible {sky130_fd_pr__nfet_01v8 sky130_fd_pr__nfet_01v8_lvt sky130_fd_bs_flash__special_sonosfet_star sky130_fd_pr__nfet_g5v0d10v5 sky130_fd_pr__nfet_05v0_nvt sky130_fd_pr__nfet_03v3_nvt} full_metal 1 viasrc 100 viadrn 100 viagate 100 viagb 0 viagr 0 viagl 0 viagt 0

# cell sky130_fd_pr__nfet_01v8_AJ3M4R: kit device sky130_fd_pr__nfet_01v8, w 0.5 l 0.15 m 1 nf 1 diffcov 100 polycov 100 guard 1 glc 1 grc 1 gtc 1 gbc 1 tbcov 100 rlcov 100 topc 1 botc 1 poverlap 0 doverlap 1 lmin 0.15 wmin 0.42 class mosfet compatible {sky130_fd_pr__nfet_01v8 sky130_fd_pr__nfet_01v8_lvt sky130_fd_bs_flash__special_sonosfet_star sky130_fd_pr__nfet_g5v0d10v5 sky130_fd_pr__nfet_05v0_nvt sky130_fd_pr__nfet_03v3_nvt} full_metal 1 viasrc 100 viadrn 100 viagate 100 viagb 0 viagr 0 viagl 0 viagt 0

# cell sky130_fd_pr__nfet_01v8_V8CAV6_segdac: kit device sky130_fd_pr__nfet_01v8, w 1.0 l 0.15 m 1 nf 1 diffcov 100 polycov 100 guard 1 glc 1 grc 1 gtc 1 gbc 1 tbcov 100 rlcov 100 topc 1 botc 1 poverlap 0 doverlap 1 lmin 0.15 wmin 0.42 class mosfet compatible {sky130_fd_pr__nfet_01v8 sky130_fd_pr__nfet_01v8_lvt sky130_fd_bs_flash__special_sonosfet_star sky130_fd_pr__nfet_g5v0d10v5 sky130_fd_pr__nfet_05v0_nvt sky130_fd_pr__nfet_03v3_nvt} full_metal 1 viasrc 100 viadrn 100 viagate 100 viagb 0 viagr 0 viagl 0 viagt 0

# cell sky130_fd_pr__nfet_01v8_V8CYR7: kit device sky130_fd_pr__nfet_01v8, w 1.4 l 0.15 m 1 nf 1 diffcov 100 polycov 100 guard 1 glc 1 grc 1 gtc 1 gbc 1 tbcov 100 rlcov 100 topc 1 botc 1 poverlap 0 doverlap 1 lmin 0.15 wmin 0.42 class mosfet compatible {sky130_fd_pr__nfet_01v8 sky130_fd_pr__nfet_01v8_lvt sky130_fd_bs_flash__special_sonosfet_star sky130_fd_pr__nfet_g5v0d10v5 sky130_fd_pr__nfet_05v0_nvt sky130_fd_pr__nfet_03v3_nvt} full_metal 1 viasrc 100 viadrn 100 viagate 100 viagb 0 viagr 0 viagl 0 viagt 0

# cell sky130_fd_pr__nfet_01v8_2BSVCH: kit device sky130_fd_pr__nfet_01v8, w 3.3 l 0.2 m 1 nf 1 diffcov 100 polycov 100 guard 1 glc 1 grc 1 gtc 1 gbc 1 tbcov 100 rlcov 100 topc 1 botc 1 poverlap 0 doverlap 1 lmin 0.15 wmin 0.42 class mosfet compatible {sky130_fd_pr__nfet_01v8 sky130_fd_pr__nfet_01v8_lvt sky130_fd_bs_flash__special_sonosfet_star sky130_fd_pr__nfet_g5v0d10v5 sky130_fd_pr__nfet_05v0_nvt sky130_fd_pr__nfet_03v3_nvt} full_metal 1 viasrc 100 viadrn 100 viagate 100 viagb 0 viagr 0 viagl 0 viagt 0
